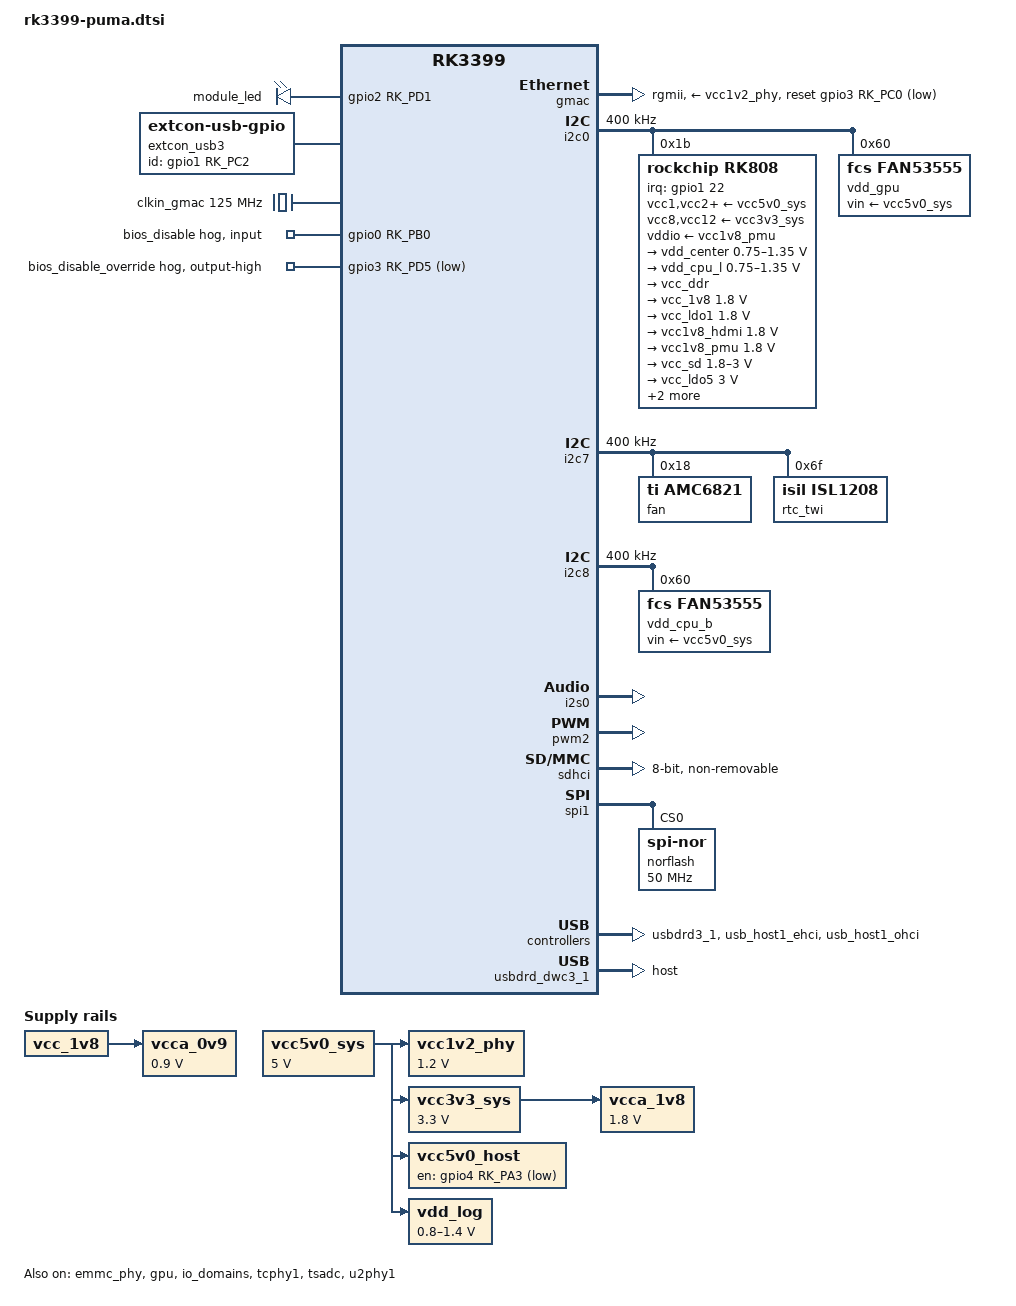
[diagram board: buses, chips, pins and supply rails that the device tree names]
// SPDX-License-Identifier: (GPL-2.0+ OR MIT)
/*
 * Copyright (c) 2017 Theobroma Systems Design und Consulting GmbH
 */

#include <dt-bindings/pwm/pwm.h>
#include "rk3399.dtsi"
#include "rk3399-opp.dtsi"

/ {
	aliases {
		ethernet0 = &gmac;
		mmc0 = &sdhci;
	};

	leds {
		compatible = "gpio-leds";
		pinctrl-names = "default";
		pinctrl-0 = <&module_led_pin>;

		module_led: led-0 {
			label = "module_led";
			gpios = <&gpio2 RK_PD1 GPIO_ACTIVE_HIGH>;
			linux,default-trigger = "heartbeat";
			panic-indicator;
		};
	};

	extcon_usb3: extcon-usb3 {
		compatible = "linux,extcon-usb-gpio";
		id-gpios = <&gpio1 RK_PC2 GPIO_ACTIVE_HIGH>;
		pinctrl-names = "default";
		pinctrl-0 = <&usb3_id>;
	};

	clkin_gmac: external-gmac-clock {
		compatible = "fixed-clock";
		clock-frequency = <125000000>;
		clock-output-names = "clkin_gmac";
		#clock-cells = <0>;
	};

	vcc1v2_phy: vcc1v2-phy {
		compatible = "regulator-fixed";
		regulator-name = "vcc1v2_phy";
		regulator-always-on;
		regulator-boot-on;
		regulator-min-microvolt = <1200000>;
		regulator-max-microvolt = <1200000>;
		vin-supply = <&vcc5v0_sys>;
	};

	vcc3v3_sys: vcc3v3-sys {
		compatible = "regulator-fixed";
		regulator-name = "vcc3v3_sys";
		regulator-always-on;
		regulator-boot-on;
		regulator-min-microvolt = <3300000>;
		regulator-max-microvolt = <3300000>;
		vin-supply = <&vcc5v0_sys>;
	};

	vcc5v0_host: vcc5v0-host-regulator {
		compatible = "regulator-fixed";
		gpio = <&gpio4 RK_PA3 GPIO_ACTIVE_LOW>;
		pinctrl-names = "default";
		pinctrl-0 = <&vcc5v0_host_en>;
		regulator-name = "vcc5v0_host";
		regulator-always-on;
		vin-supply = <&vcc5v0_sys>;
	};

	vcc5v0_sys: vcc5v0-sys {
		compatible = "regulator-fixed";
		regulator-name = "vcc5v0_sys";
		regulator-always-on;
		regulator-boot-on;
		regulator-min-microvolt = <5000000>;
		regulator-max-microvolt = <5000000>;
	};

	vcca_0v9: vcca-0v9-regulator {
		compatible = "regulator-fixed";
		regulator-name = "vcca_0v9";
		regulator-always-on;
		regulator-boot-on;
		regulator-min-microvolt = <900000>;
		regulator-max-microvolt = <900000>;
		vin-supply = <&vcc_1v8>;
	};

	vcca_1v8: vcca-1v8-regulator {
		compatible = "regulator-fixed";
		regulator-name = "vcca_1v8";
		regulator-always-on;
		regulator-boot-on;
		regulator-min-microvolt = <1800000>;
		regulator-max-microvolt = <1800000>;
		vin-supply = <&vcc3v3_sys>;
	};

	vdd_log: vdd-log {
		compatible = "pwm-regulator";
		pwms = <&pwm2 0 25000 1>;
		pwm-supply = <&vcc5v0_sys>;
		regulator-name = "vdd_log";
		regulator-min-microvolt = <800000>;
		regulator-max-microvolt = <1400000>;
		regulator-always-on;
		regulator-boot-on;
	};
};

&cpu_b0 {
	cpu-supply = <&vdd_cpu_b>;
};

&cpu_b1 {
	cpu-supply = <&vdd_cpu_b>;
};

&cpu_l0 {
	cpu-supply = <&vdd_cpu_l>;
};

&cpu_l1 {
	cpu-supply = <&vdd_cpu_l>;
};

&cpu_l2 {
	cpu-supply = <&vdd_cpu_l>;
};

&cpu_l3 {
	cpu-supply = <&vdd_cpu_l>;
};

&emmc_phy {
	status = "okay";
	drive-impedance-ohm = <33>;
};

&gpio0 {
	/*
	 * The BIOS_DISABLE hog is a feedback pin for the actual status of the
	 * signal. This usually represents the state of a switch on the baseboard.
	 * The pin has a 10k pull-up resistor connected, so no pull-up setting is needed.
	 */
	bios-disable-hog {
		gpios = <RK_PB0 GPIO_ACTIVE_HIGH>;
		gpio-hog;
		input;
		line-name = "bios_disable";
	};
};

&gpio3 {
	/*
	 * The Qseven BIOS_DISABLE signal on the RK3399-Q7 keeps the on-module
	 * eMMC and SPI flash powered-down initially (in fact it keeps the
	 * reset signal asserted). BIOS_DISABLE_OVERRIDE pin allows to override
	 * that signal so that eMMC and SPI can be used regardless of the state
	 * of the signal.
	 */
	bios-disable-override-hog {
		gpios = <RK_PD5 GPIO_ACTIVE_LOW>;
		gpio-hog;
		line-name = "bios_disable_override";
		output-high;
	};
};

&gmac {
	assigned-clocks = <&cru SCLK_RMII_SRC>;
	assigned-clock-parents = <&clkin_gmac>;
	clock_in_out = "input";
	phy-supply = <&vcc1v2_phy>;
	phy-mode = "rgmii";
	pinctrl-names = "default";
	pinctrl-0 = <&rgmii_pins>;
	snps,reset-gpio = <&gpio3 RK_PC0 GPIO_ACTIVE_LOW>;
	snps,reset-active-low;
	snps,reset-delays-us = <0 10000 50000>;
	tx_delay = <0x10>;
	rx_delay = <0x10>;
	status = "okay";
};

&gpu {
	mali-supply = <&vdd_gpu>;
	status = "okay";
};

&i2c0 {
	status = "okay";
	i2c-scl-rising-time-ns = <168>;
	i2c-scl-falling-time-ns = <4>;
	clock-frequency = <400000>;

	rk808: pmic@1b {
		compatible = "rockchip,rk808";
		reg = <0x1b>;
		interrupt-parent = <&gpio1>;
		interrupts = <22 IRQ_TYPE_LEVEL_LOW>;
		#clock-cells = <1>;
		clock-output-names = "xin32k", "rk808-clkout2";
		pinctrl-names = "default";
		pinctrl-0 = <&pmic_int_l>;
		rockchip,system-power-controller;
		wakeup-source;

		vcc1-supply = <&vcc5v0_sys>;
		vcc2-supply = <&vcc5v0_sys>;
		vcc3-supply = <&vcc5v0_sys>;
		vcc4-supply = <&vcc5v0_sys>;
		vcc6-supply = <&vcc5v0_sys>;
		vcc7-supply = <&vcc5v0_sys>;
		vcc8-supply = <&vcc3v3_sys>;
		vcc9-supply = <&vcc5v0_sys>;
		vcc10-supply = <&vcc5v0_sys>;
		vcc11-supply = <&vcc5v0_sys>;
		vcc12-supply = <&vcc3v3_sys>;
		vddio-supply = <&vcc1v8_pmu>;

		regulators {
			vdd_center: DCDC_REG1 {
				regulator-name = "vdd_center";
				regulator-min-microvolt = <750000>;
				regulator-max-microvolt = <1350000>;
				regulator-ramp-delay = <6001>;
				regulator-always-on;
				regulator-boot-on;
				regulator-state-mem {
					regulator-off-in-suspend;
				};
			};

			vdd_cpu_l: DCDC_REG2 {
				regulator-name = "vdd_cpu_l";
				regulator-min-microvolt = <750000>;
				regulator-max-microvolt = <1350000>;
				regulator-ramp-delay = <6001>;
				regulator-always-on;
				regulator-boot-on;
				regulator-state-mem {
					regulator-off-in-suspend;
				};
			};

			vcc_ddr: DCDC_REG3 {
				regulator-name = "vcc_ddr";
				regulator-always-on;
				regulator-boot-on;
				regulator-state-mem {
					regulator-on-in-suspend;
				};
			};

			vcc_1v8: DCDC_REG4 {
				regulator-name = "vcc_1v8";
				regulator-min-microvolt = <1800000>;
				regulator-max-microvolt = <1800000>;
				regulator-always-on;
				regulator-boot-on;
				regulator-state-mem {
					regulator-on-in-suspend;
					regulator-suspend-microvolt = <1800000>;
				};
			};

			vcc_ldo1: LDO_REG1 {
				regulator-name = "vcc_ldo1";
				regulator-min-microvolt = <1800000>;
				regulator-max-microvolt = <1800000>;
				regulator-boot-on;
				regulator-state-mem {
					regulator-off-in-suspend;
				};
			};

			vcc1v8_hdmi: LDO_REG2 {
				regulator-name = "vcc1v8_hdmi";
				regulator-min-microvolt = <1800000>;
				regulator-max-microvolt = <1800000>;
				regulator-always-on;
				regulator-boot-on;
				regulator-state-mem {
					regulator-off-in-suspend;
				};
			};

			vcc1v8_pmu: LDO_REG3 {
				regulator-name = "vcc1v8_pmu";
				regulator-min-microvolt = <1800000>;
				regulator-max-microvolt = <1800000>;
				regulator-always-on;
				regulator-boot-on;
				regulator-state-mem {
					regulator-on-in-suspend;
					regulator-suspend-microvolt = <1800000>;
				};
			};

			vcc_sd: LDO_REG4 {
				regulator-name = "vcc_sd";
				regulator-min-microvolt = <1800000>;
				regulator-max-microvolt = <3000000>;
				regulator-always-on;
				regulator-boot-on;
				regulator-state-mem {
					regulator-on-in-suspend;
					regulator-suspend-microvolt = <3000000>;
				};
			};

			vcc_ldo5: LDO_REG5 {
				regulator-name = "vcc_ldo5";
				regulator-min-microvolt = <3000000>;
				regulator-max-microvolt = <3000000>;
				regulator-boot-on;
				regulator-state-mem {
					regulator-off-in-suspend;
				};
			};

			vcc_ldo6: LDO_REG6 {
				regulator-name = "vcc_ldo6";
				regulator-min-microvolt = <1500000>;
				regulator-max-microvolt = <1500000>;
				regulator-boot-on;
				regulator-state-mem {
					regulator-off-in-suspend;
				};
			};

			vcc0v9_hdmi: LDO_REG7 {
				regulator-name = "vcc0v9_hdmi";
				regulator-min-microvolt = <900000>;
				regulator-max-microvolt = <900000>;
				regulator-always-on;
				regulator-boot-on;
				regulator-state-mem {
					regulator-off-in-suspend;
				};
			};

			vcc_efuse: LDO_REG8 {
				regulator-name = "vcc_efuse";
				regulator-min-microvolt = <1800000>;
				regulator-max-microvolt = <1800000>;
				regulator-always-on;
				regulator-boot-on;
				regulator-state-mem {
					regulator-off-in-suspend;
				};
			};

			vcc3v3_s3: SWITCH_REG1 {
				regulator-name = "vcc3v3_s3";
				regulator-always-on;
				regulator-boot-on;
				regulator-state-mem {
					regulator-off-in-suspend;
				};
			};

			vcc3v3_s0: SWITCH_REG2 {
				regulator-name = "vcc3v3_s0";
				regulator-always-on;
				regulator-boot-on;
				regulator-state-mem {
					regulator-off-in-suspend;
				};
			};
		};
	};

	vdd_gpu: regulator@60 {
		compatible = "fcs,fan53555";
		reg = <0x60>;
		fcs,suspend-voltage-selector = <1>;
		regulator-name = "vdd_gpu";
		regulator-min-microvolt = <600000>;
		regulator-max-microvolt = <1230000>;
		regulator-ramp-delay = <1000>;
		regulator-always-on;
		regulator-boot-on;
		vin-supply = <&vcc5v0_sys>;
	};
};

&i2c7 {
	status = "okay";
	clock-frequency = <400000>;

	fan: fan@18 {
		compatible = "ti,amc6821";
		reg = <0x18>;
		#cooling-cells = <2>;
	};

	rtc_twi: rtc@6f {
		compatible = "isil,isl1208";
		reg = <0x6f>;
	};
};

&i2c8 {
	status = "okay";
	clock-frequency = <400000>;

	vdd_cpu_b: regulator@60 {
		compatible = "fcs,fan53555";
		reg = <0x60>;
		vin-supply = <&vcc5v0_sys>;
		regulator-name = "vdd_cpu_b";
		regulator-min-microvolt = <600000>;
		regulator-max-microvolt = <1230000>;
		regulator-ramp-delay = <1000>;
		fcs,suspend-voltage-selector = <1>;
		regulator-always-on;
		regulator-boot-on;
	};
};

&i2s0 {
	pinctrl-0 = <&i2s0_2ch_bus>;
	pinctrl-1 = <&i2s0_2ch_bus_bclk_off>;
	rockchip,playback-channels = <2>;
	rockchip,capture-channels = <2>;
	status = "okay";
};

/*
 * As Q7 does not specify neither a global nor a RX clock for I2S these
 * signals are not used. Furthermore I2S0_LRCK_RX is used as GPIO.
 * Therefore we have to redefine the i2s0_2ch_bus and i2s0_2ch_bus_bclk_off
 * definitions to prevent conflicts.
 */
&i2s0_2ch_bus {
	rockchip,pins =
		<3 RK_PD0 1 &pcfg_pull_none>,
		<3 RK_PD2 1 &pcfg_pull_none>,
		<3 RK_PD3 1 &pcfg_pull_none>,
		<3 RK_PD7 1 &pcfg_pull_none>;
};

&i2s0_2ch_bus_bclk_off {
	rockchip,pins =
		<3 RK_PD0 RK_FUNC_GPIO &pcfg_pull_none>,
		<3 RK_PD2 1 &pcfg_pull_none>,
		<3 RK_PD3 1 &pcfg_pull_none>,
		<3 RK_PD7 1 &pcfg_pull_none>;
};

&io_domains {
	status = "okay";
	bt656-supply = <&vcc_1v8>;
	audio-supply = <&vcc_1v8>;
	sdmmc-supply = <&vcc_sd>;
	gpio1830-supply = <&vcc_1v8>;
};

&pcie0 {
	/* PCIe PHY supplies */
	vpcie0v9-supply = <&vcca_0v9>;
	vpcie1v8-supply = <&vcca_1v8>;
};

&pcie_clkreqn_cpm {
	rockchip,pins =
		<2 RK_PD2 RK_FUNC_GPIO &pcfg_pull_up>;
};

&pinctrl {
	pinctrl-names = "default";
	pinctrl-0 = <&q7_thermal_pin &bios_disable_override_hog_pin>;

	gpios {
		bios_disable_override_hog_pin: bios-disable-override-hog-pin {
			rockchip,pins =
				<3 RK_PD5 RK_FUNC_GPIO &pcfg_pull_down>;
		};

		q7_thermal_pin: q7-thermal-pin {
			rockchip,pins =
				<0 RK_PA3 RK_FUNC_GPIO &pcfg_pull_up>;
		};
	};

	i2c8 {
		i2c8_xfer_a: i2c8-xfer {
			rockchip,pins =
			  <1 RK_PC4 1 &pcfg_pull_up>,
			  <1 RK_PC5 1 &pcfg_pull_up>;
		};
	};

	leds {
		module_led_pin: module-led-pin {
			rockchip,pins =
			  <2 RK_PD1 RK_FUNC_GPIO &pcfg_pull_none>;
		};
	};

	pmic {
		pmic_int_l: pmic-int-l {
			rockchip,pins =
			  <1 RK_PC6 RK_FUNC_GPIO &pcfg_pull_up>;
		};
	};

	usb2 {
		vcc5v0_host_en: vcc5v0-host-en {
			rockchip,pins =
			  <4 RK_PA3 RK_FUNC_GPIO &pcfg_pull_none>;
		};
	};

	usb3 {
		usb3_id: usb3-id {
			rockchip,pins =
			  <1 RK_PC2 RK_FUNC_GPIO &pcfg_pull_up>;
		};
	};
};

&pmu_io_domains {
	status = "okay";
	pmu1830-supply = <&vcc_1v8>;
};

&pwm2 {
	status = "okay";
};

&sdhci {
	/*
	 * Signal integrity isn't great at 200MHz but 100MHz has proven stable
	 * enough.
	 */
	max-frequency = <100000000>;

	bus-width = <8>;
	mmc-hs400-1_8v;
	mmc-hs400-enhanced-strobe;
	non-removable;
	status = "okay";
};

&sdmmc {
	vqmmc-supply = <&vcc_sd>;
};

&spi1 {
	status = "okay";

	norflash: flash@0 {
		compatible = "jedec,spi-nor";
		reg = <0>;
		spi-max-frequency = <50000000>;
	};
};

&tcphy1 {
	status = "okay";
};

&tsadc {
	rockchip,hw-tshut-mode = <1>;
	rockchip,hw-tshut-polarity = <1>;
	status = "okay";
};

&u2phy1 {
	status = "okay";

	u2phy1_otg: otg-port {
		status = "okay";
	};

	u2phy1_host: host-port {
		phy-supply = <&vcc5v0_host>;
		status = "okay";
	};
};

&usbdrd3_1 {
	status = "okay";
};

&usbdrd_dwc3_1 {
	status = "okay";
	dr_mode = "host";
};

&usb_host1_ehci {
	status = "okay";
};

&usb_host1_ohci {
	status = "okay";
};
